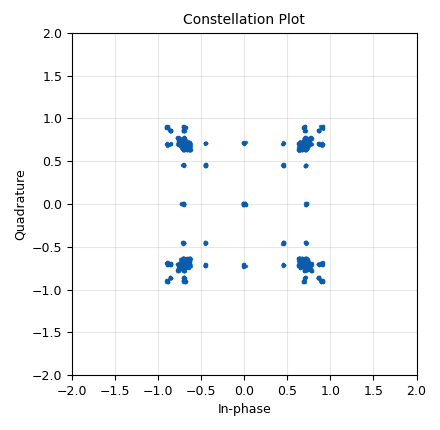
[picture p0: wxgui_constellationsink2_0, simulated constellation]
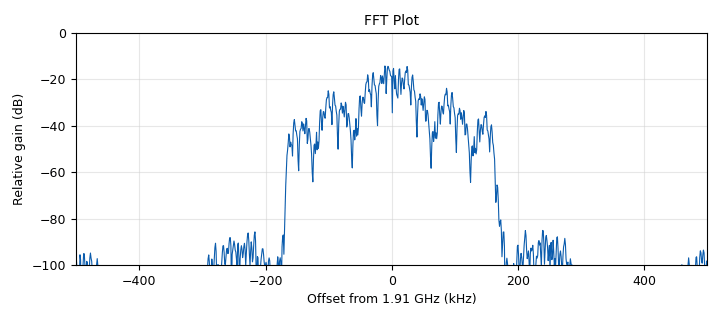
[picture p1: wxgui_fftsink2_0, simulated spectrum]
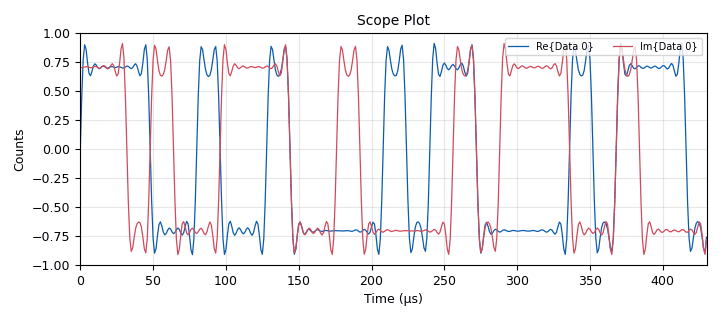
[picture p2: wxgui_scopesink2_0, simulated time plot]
<?xml version='1.0' encoding='utf-8'?>
<?grc format='1' created='3.7.11'?>
<flow_graph>
<block>
<key>options</key>
<param><key>id</key><value>psk_broadcast</value></param>
<param><key>category</key><value>Custom</value></param>
<param><key>generate_options</key><value>wx_gui</value></param>
</block>
<block>
<key>variable</key>
<param><key>id</key><value>car_freq</value></param>
<param><key>value</key><value>1.91e9</value></param>
</block>
<block>
<key>variable</key>
<param><key>id</key><value>excess_bw</value></param>
<param><key>value</key><value>0.35</value></param>
</block>
<block>
<key>variable_constellation_rect</key>
<param><key>id</key><value>qpsk</value></param>
<param><key>const_points</key><value>[0.707+0.707j, -0.707+0.707j, -0.707-0.707j, 0.707-0.707j]</value></param>
<param><key>imag_sect</key><value>2</value></param>
<param><key>real_sect</key><value>2</value></param>
<param><key>rot_sym</key><value>4</value></param>
<param><key>sym_map</key><value>[0, 1, 2, 3]</value></param>
<param><key>w_imag_sect</key><value>1</value></param>
<param><key>w_real_sect</key><value>1</value></param>
</block>
<block>
<key>variable</key>
<param><key>id</key><value>samp_rate</value></param>
<param><key>value</key><value>1e6</value></param>
</block>
<block>
<key>variable</key>
<param><key>id</key><value>sps</value></param>
<param><key>value</key><value>4</value></param>
</block>
<block>
<key>analog_random_source_x</key>
<param><key>id</key><value>analog_random_source</value></param>
<param><key>max</key><value>4</value></param>
<param><key>min</key><value>0</value></param>
<param><key>num_samps</key><value>1000</value></param>
<param><key>type</key><value>byte</value></param>
<param><key>repeat</key><value>True</value></param>
</block>
<block>
<key>analog_sig_source_x</key>
<param><key>id</key><value>analog_sig_source_x_0</value></param>
<param><key>amp</key><value>1</value></param>
<param><key>freq</key><value>car_freq</value></param>
<param><key>offset</key><value>0</value></param>
<param><key>type</key><value>complex</value></param>
<param><key>samp_rate</key><value>samp_rate</value></param>
<param><key>waveform</key><value>analog.GR_COS_WAVE</value></param>
</block>
<block>
<key>blocks_multiply_const_vxx</key>
<param><key>id</key><value>blocks_multiply_const_vxx_0</value></param>
<param><key>const</key><value>1</value></param>
<param><key>type</key><value>complex</value></param>
</block>
<block>
<key>blocks_multiply_xx</key>
<param><key>id</key><value>blocks_multiply_xx_0</value></param>
<param><key>type</key><value>complex</value></param>
</block>
<block>
<key>blocks_throttle</key>
<param><key>id</key><value>blocks_throttle_0</value></param>
<param><key>samples_per_second</key><value>samp_rate</value></param>
<param><key>type</key><value>complex</value></param>
</block>
<block>
<key>digital_constellation_modulator</key>
<param><key>id</key><value>digital_constellation_modulator_0</value></param>
<param><key>constellation</key><value>qpsk</value></param>
<param><key>differential</key><value>True</value></param>
<param><key>excess_bw</key><value>excess_bw</value></param>
<param><key>samples_per_symbol</key><value>sps</value></param>
</block>
<block>
<key>osmosdr_sink</key>
<param><key>id</key><value>osmosdr_sink_0</value></param>
<param><key>bb_gain0</key><value>20</value></param>
<param><key>bw0</key><value>samp_rate</value></param>
<param><key>freq0</key><value>car_freq</value></param>
<param><key>if_gain0</key><value>20</value></param>
<param><key>gain0</key><value>20</value></param>
<param><key>args</key><value></value></param>
<param><key>type</key><value>fc32</value></param>
<param><key>sample_rate</key><value>samp_rate</value></param>
<param><key>sync</key><value></value></param>
</block>
<block>
<key>wxgui_constellationsink2</key>
<param><key>id</key><value>wxgui_constellationsink2_0</value></param>
<param><key>const_size</key><value>2048</value></param>
<param><key>frame_rate</key><value>5</value></param>
<param><key>gain_mu</key><value>0.005</value></param>
<param><key>loop_bw</key><value>6.28/100.0</value></param>
<param><key>M</key><value>sps</value></param>
<param><key>fmax</key><value>0.06</value></param>
<param><key>mu</key><value>0.5</value></param>
<param><key>omega_limit</key><value>0.005</value></param>
<param><key>samp_rate</key><value>samp_rate</value></param>
<param><key>symbol_rate</key><value>samp_rate/4.</value></param>
<param><key>theta</key><value>0</value></param>
<param><key>title</key><value>Constellation Plot</value></param>
</block>
<block>
<key>wxgui_fftsink2</key>
<param><key>id</key><value>wxgui_fftsink2_0</value></param>
<param><key>avg_alpha</key><value>0</value></param>
<param><key>average</key><value>False</value></param>
<param><key>baseband_freq</key><value>car_freq</value></param>
<param><key>fft_size</key><value>1024</value></param>
<param><key>freqvar</key><value>None</value></param>
<param><key>peak_hold</key><value>False</value></param>
<param><key>ref_level</key><value>0</value></param>
<param><key>ref_scale</key><value>2.0</value></param>
<param><key>fft_rate</key><value>15</value></param>
<param><key>samp_rate</key><value>samp_rate</value></param>
<param><key>title</key><value>FFT Plot</value></param>
<param><key>type</key><value>complex</value></param>
<param><key>win</key><value>window.blackmanharris</value></param>
<param><key>y_divs</key><value>10</value></param>
<param><key>y_per_div</key><value>10</value></param>
</block>
<block>
<key>wxgui_scopesink2</key>
<param><key>id</key><value>wxgui_scopesink2_0</value></param>
<param><key>ac_couple</key><value>False</value></param>
<param><key>num_inputs</key><value>1</value></param>
<param><key>samp_rate</key><value>samp_rate</value></param>
<param><key>t_scale</key><value>0</value></param>
<param><key>title</key><value>Scope Plot</value></param>
<param><key>trig_mode</key><value>wxgui.TRIG_MODE_AUTO</value></param>
<param><key>type</key><value>complex</value></param>
<param><key>v_offset</key><value>0</value></param>
<param><key>v_scale</key><value>0</value></param>
<param><key>xy_mode</key><value>False</value></param>
<param><key>y_axis_label</key><value>Counts</value></param>
</block>
<connection><source_block_id>analog_random_source</source_block_id><sink_block_id>digital_constellation_modulator_0</sink_block_id><source_key>0</source_key><sink_key>0</sink_key></connection>
<connection><source_block_id>analog_sig_source_x_0</source_block_id><sink_block_id>blocks_multiply_xx_0</sink_block_id><source_key>0</source_key><sink_key>1</sink_key></connection>
<connection><source_block_id>blocks_multiply_const_vxx_0</source_block_id><sink_block_id>wxgui_fftsink2_0</sink_block_id><source_key>0</source_key><sink_key>0</sink_key></connection>
<connection><source_block_id>blocks_multiply_const_vxx_0</source_block_id><sink_block_id>wxgui_scopesink2_0</sink_block_id><source_key>0</source_key><sink_key>0</sink_key></connection>
<connection><source_block_id>blocks_multiply_xx_0</source_block_id><sink_block_id>blocks_throttle_0</sink_block_id><source_key>0</source_key><sink_key>0</sink_key></connection>
<connection><source_block_id>blocks_multiply_xx_0</source_block_id><sink_block_id>osmosdr_sink_0</sink_block_id><source_key>0</source_key><sink_key>0</sink_key></connection>
<connection><source_block_id>blocks_throttle_0</source_block_id><sink_block_id>blocks_multiply_const_vxx_0</sink_block_id><source_key>0</source_key><sink_key>0</sink_key></connection>
<connection><source_block_id>digital_constellation_modulator_0</source_block_id><sink_block_id>blocks_multiply_xx_0</sink_block_id><source_key>0</source_key><sink_key>0</sink_key></connection>
<connection><source_block_id>digital_constellation_modulator_0</source_block_id><sink_block_id>wxgui_constellationsink2_0</sink_block_id><source_key>0</source_key><sink_key>0</sink_key></connection>
</flow_graph>
